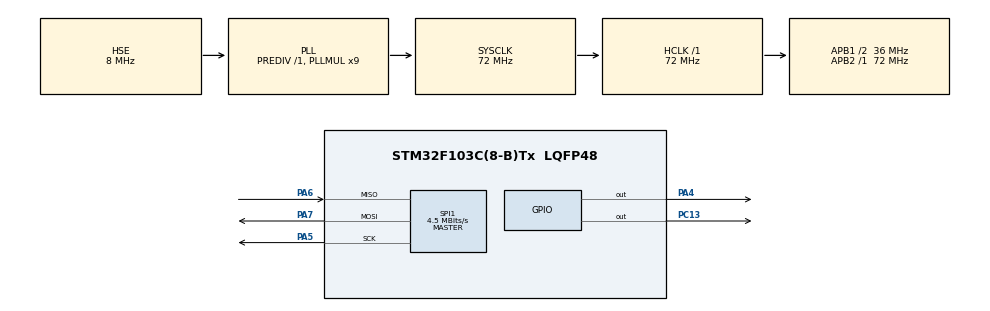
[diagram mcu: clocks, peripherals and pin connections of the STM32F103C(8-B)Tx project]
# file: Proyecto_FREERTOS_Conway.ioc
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Mcu.Family=STM32F1
RCC.PLLSourceVirtual=RCC_PLLSOURCE_HSE
PA6.Mode=Full_Duplex_Master
FREERTOS.Tasks01=defaultTask,24,128,StartDefaultTask,Default,NULL,Dynamic,NULL,NULL
PA7.Mode=Full_Duplex_Master
PD1-OSC_OUT.Mode=HSE-External-Oscillator
SPI1.VirtualType=VM_MASTER
PC13-TAMPER-RTC.Signal=GPIO_Output
NVIC.TIM1_UP_IRQn=true\:0\:0\:false\:false\:true\:false\:false\:true
PD0-OSC_IN.Signal=RCC_OSC_IN
RCC.APB1CLKDivider=RCC_HCLK_DIV2
RCC.SYSCLKSource=RCC_SYSCLKSOURCE_PLLCLK
ProjectManager.StackSize=0x400
VP_FREERTOS_VS_CMSIS_V2.Mode=CMSIS_V2
PD1-OSC_OUT.Signal=RCC_OSC_OUT
PA13.Signal=SYS_JTMS-SWDIO
ProjectManager.TargetToolchain=STM32CubeIDE
SPI1.Direction=SPI_DIRECTION_2LINES
RCC.HCLKFreq_Value=72000000
RCC.APB2TimFreq_Value=72000000
SPI1.CalculateBaudRate=4.5 MBits/s
RCC.USBFreq_Value=72000000
RCC.AHBFreq_Value=72000000
PD0-OSC_IN.Mode=HSE-External-Oscillator
PA5.Signal=SPI1_SCK
board=custom
RCC.PLLMUL=RCC_PLL_MUL9
RCC.APB2Freq_Value=72000000
SPI1.Mode=SPI_MODE_MASTER
PA14.Mode=Serial_Wire
VP_SYS_VS_tim1.Mode=TIM1
PA13.Mode=Serial_Wire
Mcu.Name=STM32F103C(8-B)Tx
FREERTOS.configTOTAL_HEAP_SIZE=4096
PA4.Signal=GPIO_Output
RCC.SYSCLKFreq_VALUE=72000000
Mcu.Package=LQFP48
PA6.Signal=SPI1_MISO
NVIC.TimeBase=TIM1_UP_IRQn
NVIC.TimeBaseIP=TIM1
PA14.Signal=SYS_JTCK-SWCLK
ProjectManager.HeapSize=0x200
NVIC.PriorityGroup=NVIC_PRIORITYGROUP_4
RCC.APB1TimFreq_Value=72000000
RCC.APB1Freq_Value=36000000
SPI1.BaudRatePrescaler=SPI_BAUDRATEPRESCALER_16
PA5.Mode=Full_Duplex_Master
PA7.Signal=SPI1_MOSI

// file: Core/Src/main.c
/* USER CODE BEGIN Header */
/**
  ******************************************************************************
  * @file           : main.c
  * @brief          : Main program body
  ******************************************************************************
  * @attention
  *
  * <h2><center>&copy; Copyright (c) 2021 STMicroelectronics.
  * All rights reserved.</center></h2>
  *
  * This software component is licensed by ST under BSD 3-Clause license,
  * the "License"; You may not use this file except in compliance with the
  * License. You may obtain a copy of the License at:
  *                        opensource.org/licenses/BSD-3-Clause
  *
  ******************************************************************************
  */
/* USER CODE END Header */
#include "main.h"
#include "cmsis_os.h"

SPI_HandleTypeDef hspi1;

/* Definitions for defaultTask */
osThreadId_t defaultTaskHandle;
const osThreadAttr_t defaultTask_attributes = {
  .name = "defaultTask",
  .stack_size = 128 * 4,
  .priority = (osPriority_t) osPriorityNormal,
};

void SystemClock_Config(void);
static void MX_GPIO_Init(void);
static void MX_SPI1_Init(void);
void StartDefaultTask(void *argument);

int main(void)
{

  /* MCU Configuration--------------------------------------------------------*/

  /* Reset of all peripherals, Initializes the Flash interface and the Systick. */
   HAL_Init();

  /* USER CODE BEGIN Init */
   TaskHandle_t xHandle,xHandle2;
  /* USER CODE END Init */

  /* Configure the system clock */
  SystemClock_Config();

  /* Initialize all configured peripherals */
  MX_GPIO_Init();
  MX_SPI1_Init();

  inicializar_max7219(&hspi1, GPIOA, GPIO_PIN_4);

  /* Init scheduler */
  osKernelInitialize();

  /* USER CODE BEGIN RTOS_SEMAPHORES */
  /* add semaphores, ... */
  sem1 = xSemaphoreCreateMutex();
  sem2 = xSemaphoreCreateMutex();
  /* USER CODE END RTOS_SEMAPHORES */

  /* Create the thread(s) */
  /* creation of defaultTask */
  defaultTaskHandle = osThreadNew(StartDefaultTask, NULL, &defaultTask_attributes);

  /* USER CODE BEGIN RTOS_THREADS */
  /* add threads, ... */
  xTaskCreate(tarea_led,					//función con código de la tarea
  		  	  "tarea_led",						//Nombre
  			  configMINIMAL_STACK_SIZE,		//STACK utilizado por la tarea
  			  NULL,							//el parámetro.
  			  tskIDLE_PRIORITY+1,			//Prioridad (+1 de la tarea IDLE)
  			  NULL);						//Puntero a la tarea
  xTaskCreate(generar_estado_inicial,					//función con código de la tarea
   		  	  "generar_estado_inicial",						//Nombre
   			  configMINIMAL_STACK_SIZE,		//STACK utilizado por la tarea
   			  (void *)xHandle2,							//el parámetro.
   			  tskIDLE_PRIORITY+1,			//Prioridad (+1 de la tarea IDLE)
   			  &xHandle);
  xTaskCreate(evolucionar_estado,					//función con código de la tarea
   		  	  "evolucionar_estado",						//Nombre
			  configMINIMAL_STACK_SIZE,		//STACK utilizado por la tarea
   			  NULL,							//el parámetro.
   			  tskIDLE_PRIORITY+1,			//Prioridad (+1 de la tarea IDLE)
   			  NULL);
  xTaskCreate(detectar_tablero_muerto,					//función con código de la tarea
    		  "detectar_tablero_muerto",						//Nombre
 			  configMINIMAL_STACK_SIZE,		//STACK utilizado por la tarea
    		  (void *)xHandle,							//el parámetro.
    		  tskIDLE_PRIORITY+1,			//Prioridad (+1 de la tarea IDLE)
			  &xHandle2);
  /* USER CODE END RTOS_THREADS */

  /* Start scheduler */
  osKernelStart();

  /* We should never get here as control is now taken by the scheduler */
  /* Infinite loop */
  while (1)
  {

  }
}

void SystemClock_Config(void)
{
  RCC_OscInitTypeDef RCC_OscInitStruct = {0};
  RCC_ClkInitTypeDef RCC_ClkInitStruct = {0};
  RCC_OscInitStruct.OscillatorType = RCC_OSCILLATORTYPE_HSE;
  RCC_OscInitStruct.HSEState = RCC_HSE_ON;
  RCC_OscInitStruct.HSEPredivValue = RCC_HSE_PREDIV_DIV1;
  RCC_OscInitStruct.HSIState = RCC_HSI_ON;
  RCC_OscInitStruct.PLL.PLLState = RCC_PLL_ON;
  RCC_OscInitStruct.PLL.PLLSource = RCC_PLLSOURCE_HSE;
  RCC_OscInitStruct.PLL.PLLMUL = RCC_PLL_MUL9;
  HAL_RCC_OscConfig(&RCC_OscInitStruct);
  RCC_ClkInitStruct.ClockType = RCC_CLOCKTYPE_HCLK|RCC_CLOCKTYPE_SYSCLK
                              |RCC_CLOCKTYPE_PCLK1|RCC_CLOCKTYPE_PCLK2;
  RCC_ClkInitStruct.SYSCLKSource = RCC_SYSCLKSOURCE_PLLCLK;
  RCC_ClkInitStruct.AHBCLKDivider = RCC_SYSCLK_DIV1;
  RCC_ClkInitStruct.APB1CLKDivider = RCC_HCLK_DIV2;
  RCC_ClkInitStruct.APB2CLKDivider = RCC_HCLK_DIV1;
  HAL_RCC_ClockConfig(&RCC_ClkInitStruct, FLASH_LATENCY_2);
}

static void MX_SPI1_Init(void)
{
  /* SPI1 parameter configuration*/
  hspi1.Instance = SPI1;
  hspi1.Init.Mode = SPI_MODE_MASTER;
  hspi1.Init.Direction = SPI_DIRECTION_2LINES;
  hspi1.Init.DataSize = SPI_DATASIZE_16BIT;
  hspi1.Init.CLKPolarity = SPI_POLARITY_LOW;
  hspi1.Init.CLKPhase = SPI_PHASE_1EDGE;
  hspi1.Init.NSS = SPI_NSS_SOFT;
  hspi1.Init.BaudRatePrescaler = SPI_BAUDRATEPRESCALER_16;
  hspi1.Init.FirstBit = SPI_FIRSTBIT_MSB;
  hspi1.Init.TIMode = SPI_TIMODE_DISABLE;
  hspi1.Init.CRCCalculation = SPI_CRCCALCULATION_DISABLE;
  hspi1.Init.CRCPolynomial = 10;
  HAL_SPI_Init(&hspi1);
}

static void MX_GPIO_Init(void)
{
  GPIO_InitTypeDef GPIO_InitStruct = {0};
  __HAL_RCC_GPIOC_CLK_ENABLE();
  __HAL_RCC_GPIOD_CLK_ENABLE();
  __HAL_RCC_GPIOA_CLK_ENABLE();

  HAL_GPIO_WritePin(GPIOC, GPIO_PIN_13, GPIO_PIN_RESET);
  HAL_GPIO_WritePin(GPIOA, GPIO_PIN_4, GPIO_PIN_RESET);

  /*Configure GPIO pin : PC13 */
  GPIO_InitStruct.Pin = GPIO_PIN_13;
  GPIO_InitStruct.Mode = GPIO_MODE_OUTPUT_PP;
  GPIO_InitStruct.Pull = GPIO_NOPULL;
  GPIO_InitStruct.Speed = GPIO_SPEED_FREQ_LOW;
  HAL_GPIO_Init(GPIOC, &GPIO_InitStruct);

  /*Configure GPIO pin : PA4 */
  GPIO_InitStruct.Pin = GPIO_PIN_4;
  GPIO_InitStruct.Mode = GPIO_MODE_OUTPUT_PP;
  GPIO_InitStruct.Pull = GPIO_NOPULL;
  GPIO_InitStruct.Speed = GPIO_SPEED_FREQ_LOW;
  HAL_GPIO_Init(GPIOA, &GPIO_InitStruct);
}

void StartDefaultTask(void *argument)
{
  for(;;)
  {
    osDelay(1);
  }
}

 /**
  * @brief  Period elapsed callback in non blocking mode
  * @note   This function is called  when TIM1 interrupt took place, inside
  * HAL_TIM_IRQHandler(). It makes a direct call to HAL_IncTick() to increment
  * a global variable "uwTick" used as application time base.
  * @param  htim : TIM handle
  * @retval None
  */
void HAL_TIM_PeriodElapsedCallback(TIM_HandleTypeDef *htim)
{
  if (htim->Instance == TIM1) {
    HAL_IncTick();
  }
}

void Error_Handler(void)
{
  __disable_irq();
  while (1)
  {
  }
}

/************************ (C) COPYRIGHT STMicroelectronics *****END OF FILE****/
